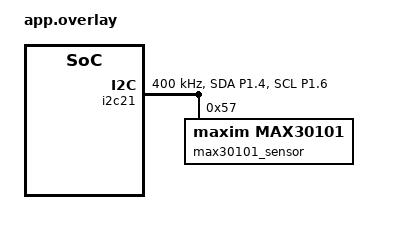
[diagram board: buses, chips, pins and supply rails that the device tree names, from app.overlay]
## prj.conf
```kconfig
CONFIG_STDOUT_CONSOLE=y
CONFIG_LOG=y
CONFIG_I2C=y
CONFIG_SENSOR=y
CONFIG_SENSOR_LOG_LEVEL_DBG=y
CONFIG_MAX30101=y

CONFIG_SHELL=y
CONFIG_LED_SHELL=y
CONFIG_I2C_SHELL=y
CONFIG_GPIO_SHELL=y
CONFIG_PM_DEVICE_RUNTIME=n
```

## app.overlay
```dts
/ {
	aliases {
	    heart-rate-sensor = &max30101_sensor;
	};
    };

    &pinctrl {
	i2c21_default: i2c21_default {
	    group1 {
		psels = <NRF_PSEL(TWIM_SDA, 1, 4)>,
			<NRF_PSEL(TWIM_SCL, 1, 6)>;
		bias-pull-up;
	    };
	};

	i2c21_sleep: i2c21_sleep {
	    group1 {
		psels = <NRF_PSEL(TWIM_SDA, 1, 4)>,
			<NRF_PSEL(TWIM_SCL, 1, 6)>;
		low-power-enable;
	    };
	};
    };

    &i2c21 {
	status = "okay";
	pinctrl-0 = <&i2c21_default>;
	pinctrl-1 = <&i2c21_sleep>;
	pinctrl-names = "default", "sleep";
	clock-frequency = <I2C_BITRATE_FAST>; // 400kHz

	max30101_sensor: max30101@57 {
	    status = "okay";
	    compatible = "maxim,max30101";
	    reg = <0x57>;
	    zephyr,deferred-init;
	    acq-mode = "heart-rate";
	};
    };
```

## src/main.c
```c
/*
 * Copyright (c) 2017, NXP
 * Copyright (c) 2025, CATIE
 *
 * SPDX-License-Identifier: Apache-2.0
 */

#include <zephyr/kernel.h>
#include <zephyr/device.h>
#include <zephyr/drivers/i2c.h>
#include <zephyr/drivers/sensor.h>
#include <zephyr/shell/shell.h>
#include <zephyr/logging/log.h>
#include <stdio.h>

LOG_MODULE_REGISTER(heart_rate, LOG_LEVEL_INF);

/* HR mode only activates the RED LED */
#define MAX30101_SENSOR_CHANNEL SENSOR_CHAN_RED

/* MAX30101 register addresses */
#define MAX30101_REG_MODE_CFG   0x09
#define MAX30101_REG_PART_ID    0xFF

#define MAX30101_PART_ID_VAL    0x15
#define MAX30101_RESET_BIT      0x40

static const struct device *const max30101_dev =
	DEVICE_DT_GET(DT_NODELABEL(max30101_sensor));

static const struct i2c_dt_spec max30101_i2c =
	I2C_DT_SPEC_GET(DT_NODELABEL(max30101_sensor));

static int max30101_soft_reset(void)
{
	uint8_t mode_cfg;
	int ret;

	ret = i2c_reg_write_byte_dt(&max30101_i2c, MAX30101_REG_MODE_CFG,
				    MAX30101_RESET_BIT);
	if (ret) {
		return ret;
	}

	k_msleep(100);

	for (int i = 0; i < 50; i++) {
		ret = i2c_reg_read_byte_dt(&max30101_i2c, MAX30101_REG_MODE_CFG,
					   &mode_cfg);
		if (ret) {
			return ret;
		}
		if (!(mode_cfg & MAX30101_RESET_BIT)) {
			return 0;
		}
		k_msleep(10);
	}

	return -ETIMEDOUT;
}

static int max30101_verify_part_id(void)
{
	uint8_t part_id;
	int ret;

	ret = i2c_reg_read_byte_dt(&max30101_i2c, MAX30101_REG_PART_ID,
				   &part_id);
	if (ret) {
		return ret;
	}

	if (part_id != MAX30101_PART_ID_VAL) {
		LOG_ERR("Part ID mismatch: got 0x%02x, expected 0x%02x",
			part_id, MAX30101_PART_ID_VAL);
		return -EIO;
	}

	return 0;
}

static int do_sensor_init(const struct shell *sh)
{
	int ret;

	if (sh) {
		shell_print(sh, "max30101: soft-resetting sensor...");
	} else {
		LOG_INF("Soft-resetting sensor...");
	}

	ret = max30101_soft_reset();
	if (ret) {
		if (sh) {
			shell_error(sh, "max30101: soft reset failed (err %d)", ret);
		} else {
			LOG_ERR("Soft reset failed (err %d)", ret);
		}
		return ret;
	}

	ret = max30101_verify_part_id();
	if (ret) {
		if (sh) {
			shell_error(sh, "max30101: Part ID check failed (err %d)", ret);
		} else {
			LOG_ERR("Part ID check failed (err %d)", ret);
		}
		return ret;
	}

	if (sh) {
		shell_print(sh, "max30101: Part ID verified (0x15)");
	} else {
		LOG_INF("Part ID verified (0x15)");
	}

	ret = device_init(max30101_dev);
	if (ret) {
		if (sh) {
			shell_error(sh, "max30101: device_init() failed (err %d)", ret);
		} else {
			LOG_ERR("device_init() failed (err %d)", ret);
		}
		return ret;
	}

	if (sh) {
		shell_print(sh, "max30101: initialized successfully");
	} else {
		LOG_INF("Initialized successfully");
	}

	return 0;
}

static int cmd_sensor_init(const struct shell *sh, size_t argc, char **argv)
{
	ARG_UNUSED(argc);
	ARG_UNUSED(argv);

	if (device_is_ready(max30101_dev)) {
		shell_print(sh, "max30101: already initialized");
		return 0;
	}

	return do_sensor_init(sh);
}

static int cmd_sensor_read(const struct shell *sh, size_t argc, char **argv)
{
	ARG_UNUSED(argc);
	ARG_UNUSED(argv);

	if (!device_is_ready(max30101_dev)) {
		shell_error(sh, "max30101: not initialized, run 'sensor_init' first");
		return -ENODEV;
	}

	struct sensor_value val;

	sensor_sample_fetch(max30101_dev);
	sensor_channel_get(max30101_dev, MAX30101_SENSOR_CHANNEL, &val);
	shell_print(sh, "RED = %d", val.val1);
	return 0;
}

SHELL_CMD_REGISTER(sensor_init, NULL, "Re-initialize MAX30101 sensor",
		   cmd_sensor_init);
SHELL_CMD_REGISTER(sensor_read, NULL, "Read one MAX30101 sample",
		   cmd_sensor_read);

int main(void)
{
	if (!device_is_ready(max30101_i2c.bus)) {
		LOG_ERR("I2C bus not ready");
		return 0;
	}

	if (!device_is_ready(max30101_dev)) {
		do_sensor_init(NULL);
	}

	if (!device_is_ready(max30101_dev)) {
		LOG_WRN("Sensor not ready, use 'sensor_init' to retry");
	}

	return 0;
}
```
